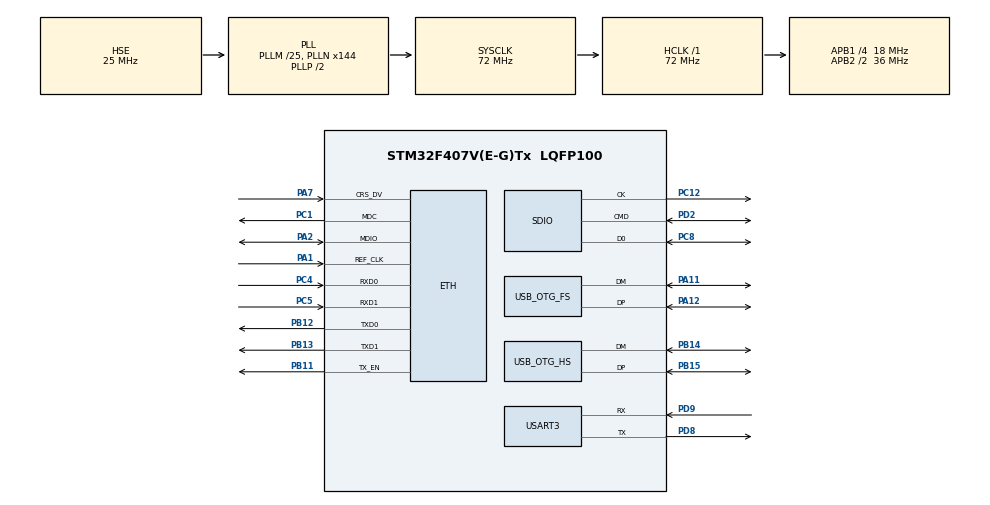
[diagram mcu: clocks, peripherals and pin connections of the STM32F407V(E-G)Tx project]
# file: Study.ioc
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Dma.Request0=USART3_RX
Dma.Request1=USART3_TX
Dma.USART3_RX.0.Direction=DMA_PERIPH_TO_MEMORY
Dma.USART3_RX.0.FIFOMode=DMA_FIFOMODE_DISABLE
Dma.USART3_RX.0.Instance=DMA1_Stream1
Dma.USART3_RX.0.MemDataAlignment=DMA_MDATAALIGN_BYTE
Dma.USART3_RX.0.MemInc=DMA_MINC_ENABLE
Dma.USART3_RX.0.Mode=DMA_NORMAL
Dma.USART3_RX.0.PeriphDataAlignment=DMA_PDATAALIGN_BYTE
Dma.USART3_RX.0.PeriphInc=DMA_PINC_DISABLE
Dma.USART3_RX.0.Priority=DMA_PRIORITY_LOW
Dma.USART3_TX.1.Direction=DMA_MEMORY_TO_PERIPH
Dma.USART3_TX.1.FIFOMode=DMA_FIFOMODE_ENABLE
Dma.USART3_TX.1.FIFOThreshold=DMA_FIFO_THRESHOLD_FULL
Dma.USART3_TX.1.Instance=DMA1_Stream3
Dma.USART3_TX.1.MemBurst=DMA_MBURST_SINGLE
Dma.USART3_TX.1.MemDataAlignment=DMA_MDATAALIGN_BYTE
Dma.USART3_TX.1.MemInc=DMA_MINC_ENABLE
Dma.USART3_TX.1.Mode=DMA_NORMAL
Dma.USART3_TX.1.PeriphBurst=DMA_PBURST_SINGLE
Dma.USART3_TX.1.PeriphDataAlignment=DMA_PDATAALIGN_BYTE
Dma.USART3_TX.1.PeriphInc=DMA_PINC_DISABLE
Dma.USART3_TX.1.Priority=DMA_PRIORITY_LOW
ETH.MediaInterface=HAL_ETH_RMII_MODE
LWIP.BSP.number=1
LWIP.CHECKSUM_BY_HARDWARE=1
LWIP.GATEWAY_ADDRESS=192.168.000.001
LWIP.IP_ADDRESS=192.168.000.111
LWIP.LWIP_DHCP=1
LWIP.LWIP_DNS=1
LWIP.LWIP_HTTPD=0
LWIP.MEMP_NUM_TCP_SEG=24
LWIP.MEM_ALIGNMENT=4
LWIP.NETMASK_ADDRESS=255.255.255.000
LWIP.TCP_MSS=460
LWIP.TCP_SND_BUF=1840
LWIP.TCP_WND=2048
LWIP.Version=v2.1.2_Cube
LWIP0.BSP.STBoard=false
LWIP0.BSP.api=BSP_COMPONENT_DRIVER
LWIP0.BSP.component=DP83848
LWIP0.BSP.instance=DP83848
LWIP0.BSP.name=Driver_PHY
LWIP0.BSP.semaphore=S_DP83848
LWIP0.BSP.solution=DP83848
Mcu.Family=STM32F4
Mcu.Name=STM32F407V(E-G)Tx
Mcu.Package=LQFP100
NVIC.DMA1_Stream1_IRQn=true\:0\:0\:false\:false\:true\:false\:true\:true
NVIC.DMA1_Stream3_IRQn=true\:0\:0\:false\:false\:true\:false\:true\:true
NVIC.OTG_FS_IRQn=true\:0\:0\:false\:false\:true\:true\:true\:true
NVIC.OTG_HS_IRQn=true\:0\:0\:false\:false\:true\:true\:true\:true
NVIC.PriorityGroup=NVIC_PRIORITYGROUP_4
NVIC.SDIO_IRQn=true\:0\:0\:false\:false\:true\:true\:true\:true
NVIC.USART3_IRQn=true\:0\:0\:false\:false\:true\:true\:true\:true
PA1.Mode=RMII
PA1.Signal=ETH_REF_CLK
PA11.Mode=Device_Only
PA11.Signal=USB_OTG_FS_DM
PA12.Mode=Device_Only
PA12.Signal=USB_OTG_FS_DP
PA13.Mode=Serial_Wire
PA13.Signal=SYS_JTMS-SWDIO
PA14.Mode=Serial_Wire
PA14.Signal=SYS_JTCK-SWCLK
PA2.Mode=RMII
PA2.Signal=ETH_MDIO
PA7.Mode=RMII
PA7.Signal=ETH_CRS_DV
PB11.Mode=RMII
PB11.Signal=ETH_TX_EN
PB12.Mode=RMII
PB12.Signal=ETH_TXD0
PB13.Mode=RMII
PB13.Signal=ETH_TXD1
PB14.Mode=Device_Only_FS
PB14.Signal=USB_OTG_HS_DM
PB15.Mode=Device_Only_FS
PB15.Signal=USB_OTG_HS_DP
PC1.Mode=RMII
PC1.Signal=ETH_MDC
PC12.Mode=SD_1_bit
PC12.Signal=SDIO_CK
PC4.Mode=RMII
PC4.Signal=ETH_RXD0
PC5.Mode=RMII
PC5.Signal=ETH_RXD1
PC8.Mode=SD_1_bit
PC8.Signal=SDIO_D0
PD2.Mode=SD_1_bit
PD2.Signal=SDIO_CMD
PD8.Mode=Asynchronous
PD8.Signal=USART3_TX
PD9.Mode=Asynchronous
PD9.Signal=USART3_RX
PH0-OSC_IN.Mode=HSE-External-Oscillator
PH0-OSC_IN.Signal=RCC_OSC_IN
PH1-OSC_OUT.Mode=HSE-External-Oscillator
PH1-OSC_OUT.Signal=RCC_OSC_OUT
ProjectManager.HeapSize=0x200
ProjectManager.StackSize=0x400
ProjectManager.TargetToolchain=STM32CubeIDE
RCC.48MHZClocksFreq_Value=48000000
RCC.AHBFreq_Value=72000000
RCC.APB1CLKDivider=RCC_HCLK_DIV4
RCC.APB1Freq_Value=18000000
RCC.APB1TimFreq_Value=36000000
RCC.APB2CLKDivider=RCC_HCLK_DIV2
RCC.APB2Freq_Value=36000000
RCC.APB2TimFreq_Value=72000000
RCC.CortexFreq_Value=9000000
RCC.Cortex_Div=SYSTICK_CLKSOURCE_HCLK_DIV8
RCC.EnbaleCSS=true
RCC.HCLKFreq_Value=72000000
RCC.HSE_VALUE=25000000
RCC.HSI_VALUE=16000000
RCC.LSE_VALUE=32768
RCC.PLLM=25
RCC.PLLN=144
RCC.PLLQ=3
RCC.SYSCLKFreq_VALUE=72000000
RCC.SYSCLKSource=RCC_SYSCLKSOURCE_PLLCLK
RCC.VCOOutputFreq_Value=144000000
SDIO.ClockBypass=SDIO_CLOCK_BYPASS_DISABLE
SDIO.ClockDiv=36
SDIO.ClockEdge=SDIO_CLOCK_EDGE_RISING
SDIO.ClockPowerSave=SDIO_CLOCK_POWER_SAVE_DISABLE
SDIO.HardwareFlowControl=SDIO_HARDWARE_FLOW_CONTROL_DISABLE
USART3.VirtualMode=VM_ASYNC
USB_DEVICE.CLASS_NAME_FS=CDC
USB_DEVICE.CLASS_NAME_HS=MSC
USB_DEVICE.VirtualMode-CDC_FS=Cdc
USB_DEVICE.VirtualMode-MSC_HS=Msc
USB_DEVICE.VirtualModeFS=Cdc_FS
USB_DEVICE.VirtualModeHS=Msc_HS
USB_OTG_FS.VirtualMode=Device_Only
USB_OTG_HS.VirtualMode-Device_Only_FS=Device_Only_FS
VP_FATFS_VS_SDIO.Mode=SDIO
VP_LWIP_VS_Enabled.Mode=Enabled
VP_USB_DEVICE_VS_USB_DEVICE_CDC_FS.Mode=CDC_FS
VP_USB_DEVICE_VS_USB_DEVICE_MSC_HS.Mode=MSC_HS
board=custom

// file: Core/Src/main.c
/* USER CODE BEGIN Header */
/**
  ******************************************************************************
  * @file           : main.c
  * @brief          : Main program body
  ******************************************************************************
  * @attention
  *
  * Copyright (c) 2024 STMicroelectronics.
  * All rights reserved.
  *
  * This software is licensed under terms that can be found in the LICENSE file
  * in the root directory of this software component.
  * If no LICENSE file comes with this software, it is provided AS-IS.
  *
  ******************************************************************************
  */

/* USER CODE END Header */
#include "main.h"
#include "fatfs.h"
#include "lwip.h"
#include "usb_device.h"

/* USER CODE BEGIN Includes */
#include "global_def.h"
#include "ff_gen_drv.h"
#include "sd_diskio.h"
#include "ff.h"
/* USER CODE END Includes */

SD_HandleTypeDef hsd;

UART_HandleTypeDef huart3;
DMA_HandleTypeDef hdma_usart3_rx;
DMA_HandleTypeDef hdma_usart3_tx;

/* USER CODE BEGIN PV */

uint8_t TX_buff[] = "Ready\n\r";
uint8_t RX_buff[30];
int byteNum;
extern uint8_t wr;
extern struct tcp_pcb *cppcb;
extern char trg;
char go;

FRESULT res_fs;
FATFS fs;
FIL file;
char area[4];

extern struct netif gnetif;
int a = 0;

/* USER CODE END PV */

void SystemClock_Config(void);
static void MX_GPIO_Init(void);
static void MX_DMA_Init(void);
static void MX_USART3_UART_Init(void);
static void MX_SDIO_SD_Init(void);
/* USER CODE BEGIN PFP */
void HAL_UART_RxCpltCallback(UART_HandleTypeDef *huart);
/* USER CODE END PFP */

int main(void)
{

  /* MCU Configuration--------------------------------------------------------*/

  /* Reset of all peripherals, Initializes the Flash interface and the Systick. */
  HAL_Init();

  /* Configure the system clock */
  SystemClock_Config();

  /* Initialize all configured peripherals */
  MX_GPIO_Init();
  MX_DMA_Init();
  MX_USART3_UART_Init();
  MX_USB_DEVICE_Init();
  MX_LWIP_Init();
  MX_FATFS_Init();
  MX_SDIO_SD_Init();
  /* USER CODE BEGIN 2 */
  //__HAL_UART_ENABLE_IT(&huart3,UART_IT_RXNE);
  //__HAL_UART_ENABLE_IT(&huart3,UART_IT_TC);
  HAL_UART_Receive_DMA(&huart3, RX_buff, 15);
  //tcp_server_init();
  //tcp_client_init();
//  MX_LWIP_Process();
//  if (FATFS_LinkDriver(&SD_Driver, "") == FR_OK)
//  {
//	  res_fs = f_mount(&fs, (const TCHAR*)"", 1);
//	  if (res_fs == FR_OK)
//	  {
//		  res_fs = f_open(&file, "FIRST.txt", FA_CREATE_ALWAYS | FA_WRITE | FA_OPEN_ALWAYS | FA_READ);
//		  if (res_fs == FR_OK)
//		  {
//			  UINT cw;
//			  res_fs = f_write(&file, "Hello on SD!!!", sizeof("Hello on SD!!!"), (void *)&cw);
//			  if (res_fs == FR_OK)
//			  {
//				  f_close(&file);
//
//			  }
//
//		  }
//	  }
//
//	  //FATFS_UnLinkDriver("");
//
//  }
//
//  //res_fs = f_readdir("", fno)
//
//  DIR dir;
//  FILINFO fio;
//
//  if (f_opendir(&dir, "MyDir") == FR_OK)
//  {
//	 if (f_readdir(&dir, &fio) == FR_OK)
//	 {
//
//		  if(f_open(&file, "MyDir/MyFile.txt", FA_CREATE_ALWAYS | FA_WRITE | FA_READ | FA_OPEN_ALWAYS) == FR_OK)
//		  {
//			  UINT cw;
//			  if(f_write(&file, "0123456789 ", sizeof("0123456789 "), cw) == FR_OK)
//			  {
//				  f_close(&file);
//			  }
//		   }
//
//	  }
//  }
//  else
//  {
//	  if (f_mkdir("MyDir"))
//	  {
//		  if(f_open(&file, "MyDir/MyFile.txt", FA_CREATE_ALWAYS | FA_WRITE | FA_READ | FA_OPEN_ALWAYS) == FR_OK)
//		  {
//			  UINT cw;
//			  if(f_write(&file, "0123456789 ", sizeof("0123456789 "), cw) == FR_OK)
//			  {
//				  f_close(&file);
//			  }
//		  }
//
//	  }
//
//  }
//  char readBuff[25];
//  memset(readBuff, '\0', 25);
//  if (f_open(&file, "FIRST.txt", FA_READ) == FR_OK)
//  {
//	  UINT cr;
//	  if (f_read(&file, readBuff, 25, &cr) == FR_OK)
//	  {
//		  f_close(&file);
//
//	  }
//  }
  //FATFS_UnLinkDriver(area);
  /* USER CODE END 2 */

  /* Infinite loop */
  /* USER CODE BEGIN WHILE */
  //tcp_client_init();
  while (gnetif.ip_addr.addr == 0)
  {
	  MX_LWIP_Process();
  }

  tcp_client_init();

  while (1)
  {
	  //HAL_UART_Transmit(&huart3, TX_buff, sizeof(TX_buff),0xFFFF);
	  //HAL_Delay(5000);

	  MX_LWIP_Process();
	  if (gnetif.ip_addr.addr != 0)
	  {
		  a = 1;

	  }

	  //tcp_write(cppcb, (void *)"Hello from Client\n\r", sizeof("Hello from Client\n\r"), 1);
    /* USER CODE END WHILE */

  }
}

void SystemClock_Config(void)
{
  RCC_OscInitTypeDef RCC_OscInitStruct = {0};
  RCC_ClkInitTypeDef RCC_ClkInitStruct = {0};

  /** Configure the main internal regulator output voltage
  */
  __HAL_RCC_PWR_CLK_ENABLE();
  __HAL_PWR_VOLTAGESCALING_CONFIG(PWR_REGULATOR_VOLTAGE_SCALE1);

  /** Initializes the RCC Oscillators according to the specified parameters
  * in the RCC_OscInitTypeDef structure.
  */
  RCC_OscInitStruct.OscillatorType = RCC_OSCILLATORTYPE_HSE;
  RCC_OscInitStruct.HSEState = RCC_HSE_ON;
  RCC_OscInitStruct.PLL.PLLState = RCC_PLL_ON;
  RCC_OscInitStruct.PLL.PLLSource = RCC_PLLSOURCE_HSE;
  RCC_OscInitStruct.PLL.PLLM = 25;
  RCC_OscInitStruct.PLL.PLLN = 144;
  RCC_OscInitStruct.PLL.PLLP = RCC_PLLP_DIV2;
  RCC_OscInitStruct.PLL.PLLQ = 3;
  if (HAL_RCC_OscConfig(&RCC_OscInitStruct) != HAL_OK)
  {
    Error_Handler();
  }

  /** Initializes the CPU, AHB and APB buses clocks
  */
  RCC_ClkInitStruct.ClockType = RCC_CLOCKTYPE_HCLK|RCC_CLOCKTYPE_SYSCLK
                              |RCC_CLOCKTYPE_PCLK1|RCC_CLOCKTYPE_PCLK2;
  RCC_ClkInitStruct.SYSCLKSource = RCC_SYSCLKSOURCE_PLLCLK;
  RCC_ClkInitStruct.AHBCLKDivider = RCC_SYSCLK_DIV1;
  RCC_ClkInitStruct.APB1CLKDivider = RCC_HCLK_DIV4;
  RCC_ClkInitStruct.APB2CLKDivider = RCC_HCLK_DIV2;

  if (HAL_RCC_ClockConfig(&RCC_ClkInitStruct, FLASH_LATENCY_2) != HAL_OK)
  {
    Error_Handler();
  }

  /** Enables the Clock Security System
  */
  HAL_RCC_EnableCSS();
}

static void MX_SDIO_SD_Init(void)
{

  hsd.Instance = SDIO;
  hsd.Init.ClockEdge = SDIO_CLOCK_EDGE_RISING;
  hsd.Init.ClockBypass = SDIO_CLOCK_BYPASS_DISABLE;
  hsd.Init.ClockPowerSave = SDIO_CLOCK_POWER_SAVE_DISABLE;
  hsd.Init.BusWide = SDIO_BUS_WIDE_1B;
  hsd.Init.HardwareFlowControl = SDIO_HARDWARE_FLOW_CONTROL_DISABLE;
  hsd.Init.ClockDiv = 36;

}

static void MX_USART3_UART_Init(void)
{

  huart3.Instance = USART3;
  huart3.Init.BaudRate = 115200;
  huart3.Init.WordLength = UART_WORDLENGTH_8B;
  huart3.Init.StopBits = UART_STOPBITS_1;
  huart3.Init.Parity = UART_PARITY_NONE;
  huart3.Init.Mode = UART_MODE_TX_RX;
  huart3.Init.HwFlowCtl = UART_HWCONTROL_NONE;
  huart3.Init.OverSampling = UART_OVERSAMPLING_16;
  if (HAL_UART_Init(&huart3) != HAL_OK)
  {
    Error_Handler();
  }

}

static void MX_DMA_Init(void)
{

  /* DMA controller clock enable */
  __HAL_RCC_DMA1_CLK_ENABLE();

  /* DMA interrupt init */
  /* DMA1_Stream1_IRQn interrupt configuration */
  HAL_NVIC_SetPriority(DMA1_Stream1_IRQn, 0, 0);
  HAL_NVIC_EnableIRQ(DMA1_Stream1_IRQn);
  /* DMA1_Stream3_IRQn interrupt configuration */
  HAL_NVIC_SetPriority(DMA1_Stream3_IRQn, 0, 0);
  HAL_NVIC_EnableIRQ(DMA1_Stream3_IRQn);

}

static void MX_GPIO_Init(void)
{

  /* GPIO Ports Clock Enable */
  __HAL_RCC_GPIOH_CLK_ENABLE();
  __HAL_RCC_GPIOC_CLK_ENABLE();
  __HAL_RCC_GPIOA_CLK_ENABLE();
  __HAL_RCC_GPIOB_CLK_ENABLE();
  __HAL_RCC_GPIOD_CLK_ENABLE();

}

/* USER CODE BEGIN 4 */
void HAL_UART_RxCpltCallback(UART_HandleTypeDef *huart)
{

	if (huart == &huart3)
	{
		HAL_UART_Receive_DMA(&huart3, RX_buff, 2);
#ifndef COM_PORT
		byteNum++;
		wr = 1;
#endif
	}
}

//void HAL_UART_TxCpltCallback(UART_HandleTypeDef *huart)
//{
//	if (huart == &huart3)
//	{
//		HAL_UART_Transmit_DMA(&huart3, (uint8_t *)"A\n\r", sizeof("A\n\r"));
//	}
//}

/* USER CODE END 4 */

void Error_Handler(void)
{
  __disable_irq();
  while (1)
  {
  }
}
